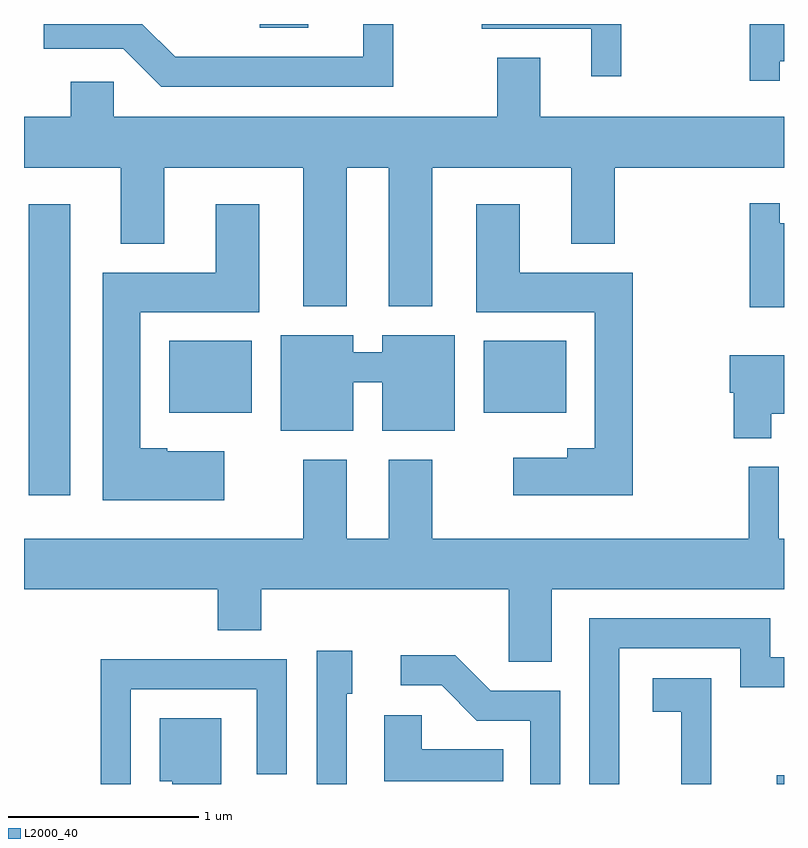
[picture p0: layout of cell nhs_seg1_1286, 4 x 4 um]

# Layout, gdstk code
import gdstk
lib = gdstk.Library(unit=1e-6, precision=1e-09)
def R(c, l, rs):  # rectangles x0, y0, x1, y1
    for r in rs: c.add(gdstk.rectangle(r[:2], r[2:], *l))
def P(c, l, *ps):  # polygons
    for p in ps: c.add(gdstk.Polygon(p, *l))
L2000_40 = (2000, 40)

nhs_seg1_1286 = lib.new_cell('nhs_seg1_1286')
R(nhs_seg1_1286, L2000_40, [(229.573,849.712,229.611,849.759), (225.636,851.231,225.854,852.764), (226.376,851.666,226.809,852.044), (228.031,851.666,228.464,852.044), (226.851,853.691,227.108,853.712)])
P(nhs_seg1_1286, L2000_40, [(229.589,853.516),(229.611,853.516),(229.611,853.712),(229.431,853.712),(229.431,853.413),(229.589,853.413)],
  [(228.754,853.712),(228.021,853.712),(228.021,853.686),(228.596,853.686),(228.596,853.438),(228.754,853.438)],
  [(227.554,853.712),(227.396,853.712),(227.396,853.539),(226.407,853.539),(226.234,853.712),(225.716,853.712),(225.716,853.581),(226.134,853.581),(226.334,853.381),(227.554,853.381)],
  [(227.309,852.956),(227.531,852.956),(227.531,852.226),(227.759,852.226),(227.759,852.956),(228.491,852.956),(228.491,852.556),(228.719,852.556),(228.719,852.956),(229.611,852.956),(229.611,853.224),(228.329,853.224),(228.329,853.534),(228.101,853.534),(228.101,853.224),(226.084,853.224),(226.084,853.409),(225.856,853.409),(225.856,853.224),(225.611,853.224),(225.611,852.956),(226.121,852.956),(226.121,852.556),(226.349,852.556),(226.349,852.956),(227.081,852.956),(227.081,852.226),(227.309,852.226)],
  [(229.611,852.664),(229.589,852.664),(229.589,852.768),(229.431,852.768),(229.431,852.221),(229.611,852.221)],
  [(226.664,851.464),(226.365,851.464),(226.365,851.479),(226.224,851.479),(226.224,852.196),(226.849,852.196),(226.849,852.764),(226.621,852.764),(226.621,852.404),(226.026,852.404),(226.026,851.206),(226.664,851.206)],
  [(228.814,852.404),(228.219,852.404),(228.219,852.764),(227.991,852.764),(227.991,852.196),(228.616,852.196),(228.616,851.479),(228.471,851.479),(228.471,851.429),(228.186,851.429),(228.186,851.231),(228.814,851.231)],
  [(227.344,851.826),(227.496,851.826),(227.496,851.571),(227.879,851.571),(227.879,852.074),(227.496,852.074),(227.496,851.984),(227.344,851.984),(227.344,852.074),(226.961,852.074),(226.961,851.571),(227.344,851.571)],
  [(229.544,851.661),(229.611,851.661),(229.611,851.969),(229.326,851.969),(229.326,851.771),(229.346,851.771),(229.346,851.531),(229.544,851.531)],
  [(228.389,850.736),(229.611,850.736),(229.611,851.004),(229.584,851.004),(229.584,851.383),(229.426,851.383),(229.426,851.004),(227.759,851.004),(227.759,851.419),(227.531,851.419),(227.531,851.004),(227.309,851.004),(227.309,851.419),(227.081,851.419),(227.081,851.004),(225.611,851.004),(225.611,850.736),(226.631,850.736),(226.631,850.521),(226.859,850.521),(226.859,850.736),(228.161,850.736),(228.161,850.356),(228.389,850.356)],
  [(228.744,850.426),(229.381,850.426),(229.381,850.221),(229.611,850.221),(229.611,850.379),(229.539,850.379),(229.539,850.584),(228.586,850.584),(228.586,849.712),(228.744,849.712)],
  [(227.309,850.186),(227.339,850.186),(227.339,850.414),(227.151,850.414),(227.151,849.712),(227.309,849.712)],
  [(228.434,850.204),(228.067,850.204),(227.882,850.389),(227.593,850.389),(227.593,850.231),(227.809,850.231),(227.994,850.046),(228.276,850.046),(228.276,849.712),(228.434,849.712)],
  [(226.174,850.211),(226.836,850.211),(226.836,849.763),(226.994,849.763),(226.994,850.369),(226.016,850.369),(226.016,849.712),(226.174,849.712)],
  [(229.229,850.269),(228.921,850.269),(228.921,850.091),(229.071,850.091),(229.071,849.712),(229.229,849.712)],
  [(228.133,849.894),(227.704,849.894),(227.704,850.074),(227.506,850.074),(227.506,849.726),(228.133,849.726)],
  [(226.649,850.059),(226.326,850.059),(226.326,849.726),(226.391,849.726),(226.391,849.712),(226.649,849.712)])

lib.write_gds('nhs_seg1_1286.gds')
